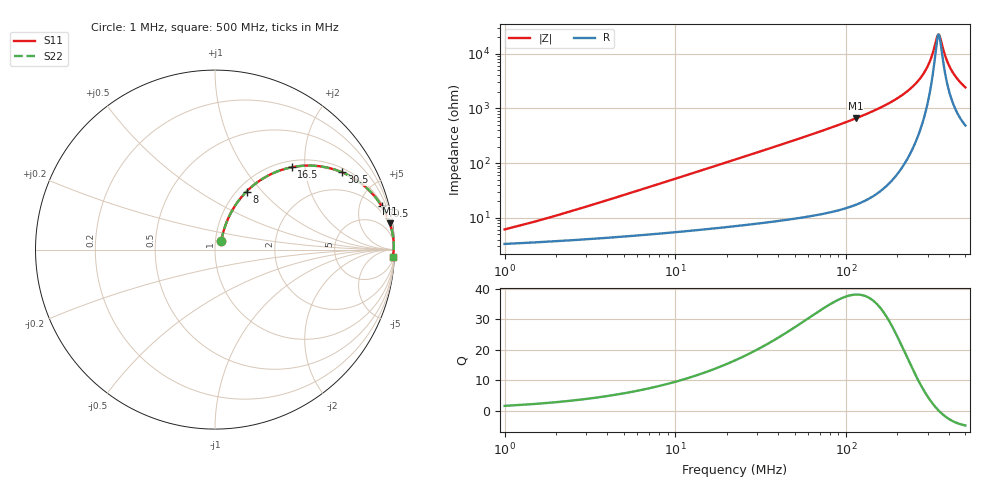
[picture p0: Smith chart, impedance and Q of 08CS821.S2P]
! Coilcraft 0805CS-821 Chip Inductor
! 30 Sept 2008
# MHZ S MA R 50
!Freq  MagS11  AngS11  MagS21  AngS21  MagS12  AngS12  MagS22  AngS22
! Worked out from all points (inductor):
!   999 points, 1 MHz to 500 MHz, reference 50 ohm
!   read as one part in series: L = 820 nH near 3 MHz
!   highest Q = 38.1 at 114 MHz (marker M1), where L = 918 nH
!   self-resonance near 348.9 MHz
!   S11 on the Smith chart (normalised r, x): 1 MHz: 1.07, +0.10; 8 MHz: 1.10, +0.82; 16.5 MHz: 1.13, +1.70; 30.5 MHz: 1.16, +3.17; 70.5 MHz: 1.23, +7.57; 500 MHz: 11, -47
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1  0.0593 54.3  0.9666 -2.9  0.9666 -2.9  0.0593 54.3
4.5  0.2207 66.7  0.9348 -12.5  0.9348 -12.5  0.2207 66.7
8  0.368 61.5  0.8855 -21.4  0.8855 -21.4  0.368 61.5
11.5  0.4917 55.2  0.8252 -29.3  0.8252 -29.3  0.4917 55.2
16.5  0.627 47.0  0.7338 -38.7  0.7338 -38.7  0.627 47.0
23.5  0.7517 38.0  0.6169 -48.6  0.6169 -48.6  0.7517 38.0
30.5  0.8275 31.4  0.5219 -55.7  0.5219 -55.7  0.8275 31.4
46.5  0.9132 22.0  0.3741 -65.9  0.3741 -65.9  0.9132 22.0
70.5  0.9597 14.7  0.2533 -73.6  0.2533 -73.6  0.9597 14.7
84.5  0.9718 12.1  0.21 -76.3  0.21 -76.3  0.9718 12.1
114  0.9848 8.6  0.1497 -79.9  0.1497 -79.9  0.9848 8.6
167.5  0.9933 5.1  0.08848 -83.1  0.08848 -83.1  0.9933 5.1
250.5  0.9963 2.1  0.03741 -83.3  0.03741 -83.3  0.9963 2.1
300.5  0.9963 0.9  0.01693 -76.8  0.01693 -76.8  0.9963 0.9
318  0.9961 0.6  0.01095 -68.7  0.01095 -68.7  0.9961 0.6
334  0.9958 0.3  0.006352 -48.9  0.006352 -48.9  0.9958 0.3
344  0.9957 0.1  0.004608 -19.6  0.004608 -19.6  0.9957 0.1
351  0.9955 -0.0  0.004524 8.4  0.004524 8.4  0.9955 -0.0
384  0.9948 -0.6  0.01176 63.3  0.01176 63.3  0.9948 -0.6
417  0.9939 -1.1  0.02056 72.1  0.02056 72.1  0.9939 -1.1
453.5  0.9927 -1.7  0.02985 75.0  0.02985 75.0  0.9927 -1.7
500  0.991 -2.3  0.04095 76.1  0.04095 76.1  0.991 -2.3
